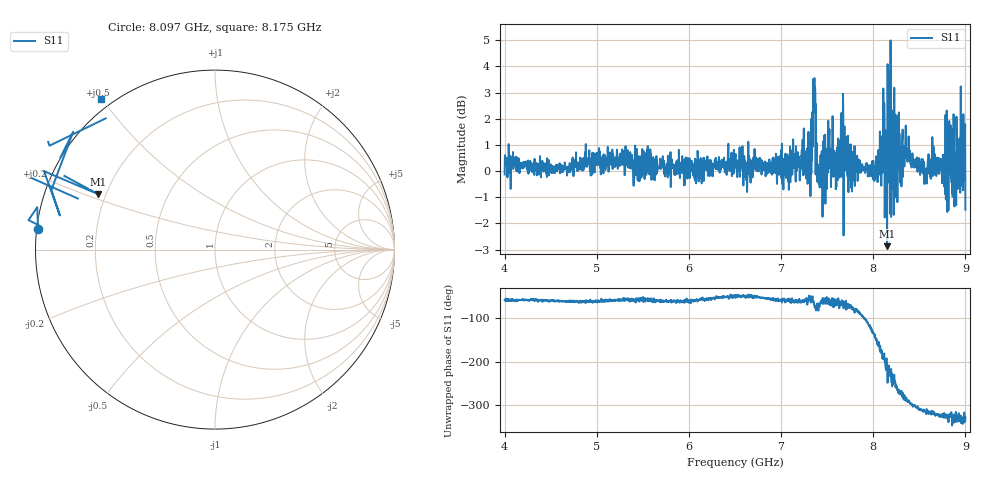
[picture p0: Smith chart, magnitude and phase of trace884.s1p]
! Created with skrf 1.8.0 (http://scikit-rf.org).
# Hz S RI R 50.0
!freq ReS11 ImS11
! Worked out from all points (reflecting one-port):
!   1601 points, 4 GHz to 9 GHz, reference 50 ohm
!   lowest |S11| = -2.9 dB at 8.15 GHz (marker M1), VSWR 6.12, Z = 8.58 + j10.9 ohm
!   phase of S11 starts at -57 deg and turns -273 deg over the sweep
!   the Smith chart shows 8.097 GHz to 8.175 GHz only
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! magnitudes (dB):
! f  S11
! 4 GHz  -0.1
! 4.625 GHz  0.0
! 5.25 GHz  0.2
! 5.875 GHz  -0.1
! 6.5 GHz  0.5
! 7.125 GHz  0.2
! 7.297 GHz  1.5
! 7.356 GHz  3.5
! 7.372 GHz  2.9
! 7.4 GHz  0.3
! 7.428 GHz  0.6
! 7.512 GHz  1.9
! 7.609 GHz  0.5
! 7.675 GHz  2.1
! 7.75 GHz  -0.3
! 8.028 GHz  0.0
! 8.097 GHz  -0.1
! 8.15 GHz  -2.9
! 8.181 GHz  1.7
! 8.216 GHz  2.3
! 8.262 GHz  -1.2
! 8.375 GHz  0.6
! 8.566 GHz  -0.1
! 8.819 GHz  0.5
! 8.875 GHz  0.8
! 8.953 GHz  -0.6
! 8.972 GHz  0.7
! 9 GHz  -1.5
